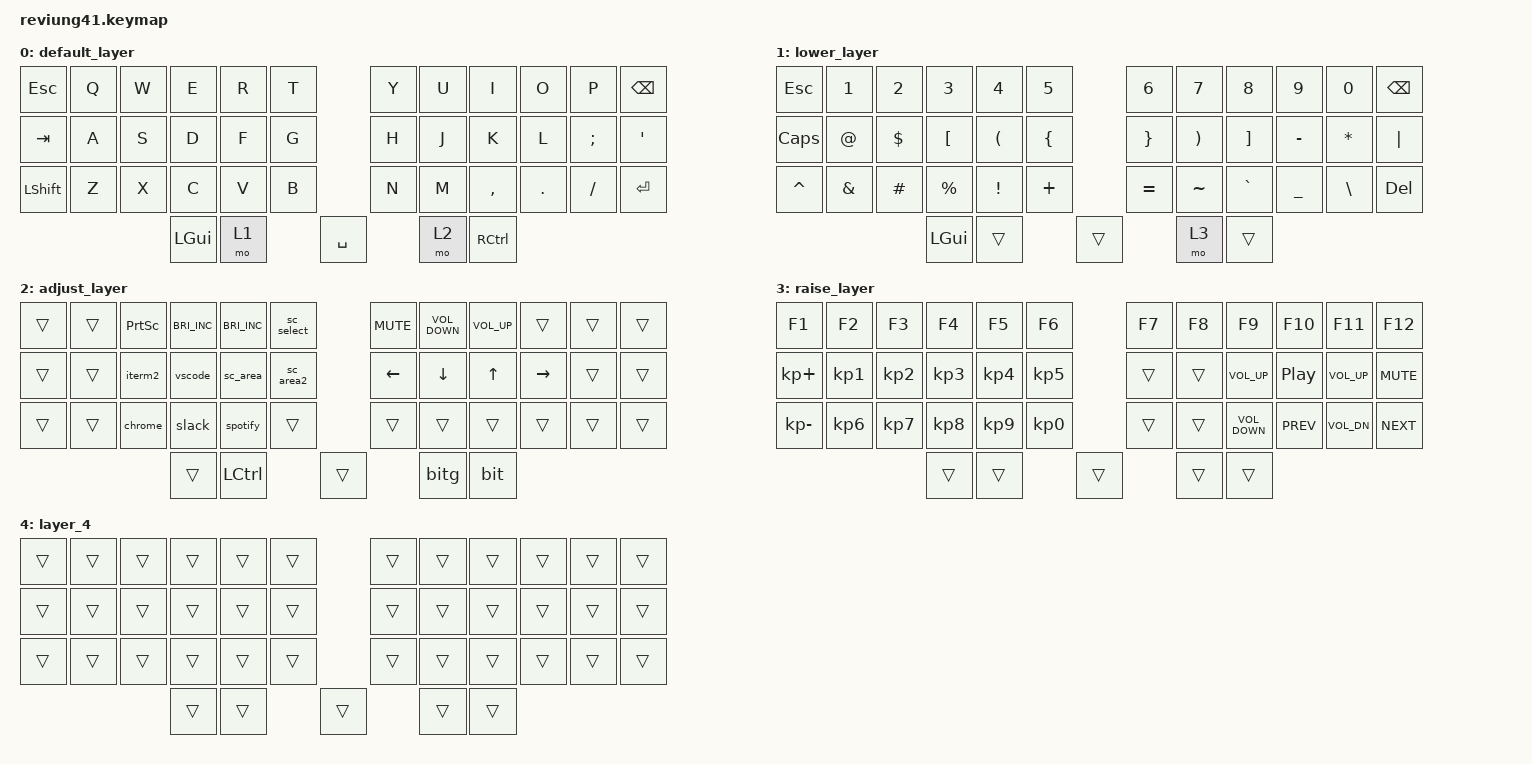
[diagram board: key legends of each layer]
/*
 * Reviung41 ChiefMikey Keymap - ZMK Configuration
 *
 * A comprehensive keymap for the Reviung41 split keyboard featuring:
 * - 4-layer layout (Base, Lower, Raise, Adjust)
 * - App launching shortcuts (iTerm2, VS Code, Chrome, Slack, Spotify)
 * - Screenshot shortcuts (selection and area capture)
 * - Email macro for quick insertion
 * - Bluetooth support for wireless operation
 * - Optimized for macOS productivity workflows
 *
 * Hardware: Reviung41 with nice!nano v2 (nRF52840)
 * Firmware: ZMK
 *
 * Copyright (c) 2020 The ZMK Contributors
 * SPDX-License-Identifier: MIT
 */

#include <behaviors.dtsi>
#include <dt-bindings/zmk/keys.h>

/ {
    macros {
        // Email macro - sends wolfemikl@gmail.com

        email: email {
            label = "email";
            compatible = "zmk,behavior-macro";
            wait-ms = <5>;
            tap-ms = <5>;
            #binding-cells = <0>;
            bindings =
                <&macro_tap>,
                <&kp W &kp O &kp L &kp F &kp E>,
                <&macro_tap>,
                <&kp M &kp I &kp K &kp L>,
                <&macro_tap>,
                <&kp AT>,
                <&macro_tap>,
                <&kp G &kp M &kp A &kp I &kp L>,
                <&macro_tap>,
                <&kp DOT>,
                <&macro_tap>,
                <&kp C &kp O &kp M>;
        };

        // Screenshot selection macro - macOS Cmd+Shift+4

        sc_select: sc_select {
            label = "sc_select";
            compatible = "zmk,behavior-macro";
            wait-ms = <5>;
            tap-ms = <5>;
            #binding-cells = <0>;
            bindings =
                <&macro_press>,
                <&kp LGUI &kp LSHFT>,
                <&macro_tap>,
                <&kp N4>,
                <&macro_release>,
                <&kp LGUI &kp LSHFT>;
        };

        // Screenshot area macro - macOS Cmd+Shift+5

        sc_area: sc_area {
            label = "sc_area";
            compatible = "zmk,behavior-macro";
            wait-ms = <5>;
            tap-ms = <5>;
            #binding-cells = <0>;
            bindings =
                <&macro_press>,
                <&kp LGUI &kp LSHFT>,
                <&macro_tap>,
                <&kp N5>,
                <&macro_release>,
                <&kp LGUI &kp LSHFT>;
        };

        // Screenshot area with enter macro - macOS Cmd+Shift+5+Enter

        sc_area2: sc_area2 {
            label = "sc_area2";
            compatible = "zmk,behavior-macro";
            wait-ms = <5>;
            tap-ms = <5>;
            #binding-cells = <0>;
            bindings =
                <&macro_press>,
                <&kp LGUI &kp LSHFT>,
                <&macro_tap>,
                <&kp N5>,
                <&macro_release>,
                <&kp LGUI &kp LSHFT>,
                <&macro_tap>,
                <&kp RET>;
        };

        // App launching macros - require Cmd+Option+key shortcuts in macOS System Preferences
        // Launch iTerm2 - Cmd+Option+I

        iterm2: iterm2 {
            label = "iterm2";
            compatible = "zmk,behavior-macro";
            wait-ms = <5>;
            tap-ms = <5>;
            #binding-cells = <0>;
            bindings =
                <&macro_press>,
                <&kp LGUI &kp LALT>,
                <&macro_tap>,
                <&kp I>,
                <&macro_release>,
                <&kp LGUI &kp LALT>;
        };

        // Launch VS Code - Cmd+Option+V

        vscode: vscode {
            label = "vscode";
            compatible = "zmk,behavior-macro";
            wait-ms = <5>;
            tap-ms = <5>;
            #binding-cells = <0>;
            bindings =
                <&macro_press>,
                <&kp LGUI &kp LALT>,
                <&macro_tap>,
                <&kp V>,
                <&macro_release>,
                <&kp LGUI &kp LALT>;
        };

        // Launch Chrome - Cmd+Option+C

        chrome: chrome {
            label = "chrome";
            compatible = "zmk,behavior-macro";
            wait-ms = <5>;
            tap-ms = <5>;
            #binding-cells = <0>;
            bindings =
                <&macro_press>,
                <&kp LGUI &kp LALT>,
                <&macro_tap>,
                <&kp C>,
                <&macro_release>,
                <&kp LGUI &kp LALT>;
        };

        // Launch Slack - Cmd+Option+L

        slack: slack {
            label = "slack";
            compatible = "zmk,behavior-macro";
            wait-ms = <5>;
            tap-ms = <5>;
            #binding-cells = <0>;
            bindings =
                <&macro_press>,
                <&kp LGUI &kp LALT>,
                <&macro_tap>,
                <&kp L>,
                <&macro_release>,
                <&kp LGUI &kp LALT>;
        };

        // Launch Spotify - Cmd+Option+S

        spotify: spotify {
            label = "spotify";
            compatible = "zmk,behavior-macro";
            wait-ms = <5>;
            tap-ms = <5>;
            #binding-cells = <0>;
            bindings =
                <&macro_press>,
                <&kp LGUI &kp LALT>,
                <&macro_tap>,
                <&kp S>,
                <&macro_release>,
                <&kp LGUI &kp LALT>;
        };

        // Bit string macro - sends 644215-341561-007271-388454-339020-202070-542564-646173

        bit: bit {
            label = "bit";
            compatible = "zmk,behavior-macro";
            wait-ms = <5>;
            tap-ms = <5>;
            #binding-cells = <0>;
            bindings =
                <&macro_tap>,
                <&kp N6 &kp N4 &kp N4 &kp N2 &kp N1 &kp N5>,
                <&macro_tap>,
                <&kp MINUS>,
                <&macro_tap>,
                <&kp N3 &kp N4 &kp N1 &kp N5 &kp N6 &kp N1>,
                <&macro_tap>,
                <&kp MINUS>,
                <&macro_tap>,
                <&kp N0 &kp N0 &kp N7 &kp N2 &kp N7 &kp N1>,
                <&macro_tap>,
                <&kp MINUS>,
                <&macro_tap>,
                <&kp N3 &kp N8 &kp N8 &kp N4 &kp N5 &kp N4>,
                <&macro_tap>,
                <&kp MINUS>,
                <&macro_tap>,
                <&kp N3 &kp N3 &kp N9 &kp N0 &kp N2 &kp N0>,
                <&macro_tap>,
                <&kp MINUS>,
                <&macro_tap>,
                <&kp N2 &kp N0 &kp N2 &kp N0 &kp N7 &kp N0>,
                <&macro_tap>,
                <&kp MINUS>,
                <&macro_tap>,
                <&kp N5 &kp N4 &kp N2 &kp N5 &kp N6 &kp N4>,
                <&macro_tap>,
                <&kp MINUS>,
                <&macro_tap>,
                <&kp N6 &kp N4 &kp N6 &kp N1 &kp N7 &kp N3>;
        };

        // BitG string macro - sends 579359-282722-097900-233354-372933-318197-148071-714978

        bitg: bitg {
            label = "bitg";
            compatible = "zmk,behavior-macro";
            wait-ms = <5>;
            tap-ms = <5>;
            #binding-cells = <0>;
            bindings =
                <&macro_tap>,
                <&kp N5 &kp N7 &kp N9 &kp N3 &kp N5 &kp N9>,
                <&macro_tap>,
                <&kp MINUS>,
                <&macro_tap>,
                <&kp N2 &kp N8 &kp N2 &kp N7 &kp N2 &kp N2>,
                <&macro_tap>,
                <&kp MINUS>,
                <&macro_tap>,
                <&kp N0 &kp N9 &kp N7 &kp N9 &kp N0 &kp N0>,
                <&macro_tap>,
                <&kp MINUS>,
                <&macro_tap>,
                <&kp N2 &kp N3 &kp N3 &kp N3 &kp N5 &kp N4>,
                <&macro_tap>,
                <&kp MINUS>,
                <&macro_tap>,
                <&kp N3 &kp N7 &kp N2 &kp N9 &kp N3 &kp N3>,
                <&macro_tap>,
                <&kp MINUS>,
                <&macro_tap>,
                <&kp N3 &kp N1 &kp N8 &kp N1 &kp N9 &kp N7>,
                <&macro_tap>,
                <&kp MINUS>,
                <&macro_tap>,
                <&kp N1 &kp N4 &kp N8 &kp N0 &kp N7 &kp N1>,
                <&macro_tap>,
                <&kp MINUS>,
                <&macro_tap>,
                <&kp N7 &kp N1 &kp N4 &kp N9 &kp N7 &kp N8>;
        };
    };
};

/ {
    keymap {
        compatible = "zmk,keymap";

        default_layer {
            bindings = <
&kp ESC    &kp Q  &kp W  &kp E     &kp R  &kp T             &kp Y  &kp U  &kp I              &kp O    &kp P     &kp BSPC
&kp TAB    &kp A  &kp S  &kp D     &kp F  &kp G             &kp H  &kp J  &kp K              &kp L    &kp SEMI  &kp SQT
&kp LSHFT  &kp Z  &kp X  &kp C     &kp V  &kp B             &kp N  &kp M  &kp COMMA          &kp DOT  &kp FSLH  &kp ENTER
                         &kp LGUI  &mo 1         &kp SPACE         &mo 2  &kp RIGHT_CONTROL
            >;
        };

        lower_layer {
            bindings = <
&kp ESC       &kp NUMBER_1  &kp NUMBER_2  &kp NUMBER_3  &kp NUMBER_4  &kp NUMBER_5          &kp NUMBER_6  &kp N7     &kp N8     &kp N9          &kp N0    &kp BSPC
&kp CAPSLOCK  &kp AT        &kp DLLR      &kp LBKT      &kp LPAR      &kp LBRC              &kp RBRC      &kp RPAR   &kp RBKT   &kp MINUS       &kp STAR  &kp PIPE
&kp CARET     &kp AMPS      &kp HASH      &kp PRCNT     &kp EXCL      &kp PLUS              &kp EQUAL     &kp TILDE  &kp GRAVE  &kp UNDERSCORE  &kp BSLH  &kp DEL
                                          &kp LGUI      &trans                      &trans                &mo 3      &trans
            >;
        };

        adjust_layer {
            bindings = <
&trans  &trans  &kp PRINTSCREEN  &kp C_BRIGHTNESS_INC  &kp C_BRIGHTNESS_INC  &sc_select          &kp K_MUTE      &kp C_VOLUME_DOWN  &kp C_VOLUME_UP  &trans     &trans  &trans
&trans  &trans  &iterm2          &vscode               &sc_area              &sc_area2           &kp LEFT_ARROW  &kp DOWN_ARROW     &kp UP_ARROW     &kp RIGHT  &trans  &trans
&trans  &trans  &chrome          &slack                &spotify              &trans              &trans          &trans             &trans           &trans     &trans  &trans
                                 &trans                &kp LEFT_CONTROL                  &trans                  &bitg              &bit
            >;
        };

        raise_layer {
            bindings = <
&kp F1        &kp F2     &kp F3     &kp F4     &kp F5     &kp F6             &kp F7  &kp F8  &kp F9             &kp F10           &kp F11       &kp F12
&kp KP_PLUS   &kp KP_N1  &kp KP_N2  &kp KP_N3  &kp KP_N4  &kp KP_N5          &trans  &trans  &kp C_VOLUME_UP    &kp C_PLAY_PAUSE  &kp C_VOL_UP  &kp C_MUTE
&kp KP_MINUS  &kp KP_N6  &kp KP_N7  &kp KP_N8  &kp KP_N9  &kp KP_N0          &trans  &trans  &kp C_VOLUME_DOWN  &kp C_PREV        &kp C_VOL_DN  &kp C_NEXT
                                    &trans     &trans                &trans          &trans  &trans
            >;
        };

        layer_4 {
            bindings = <
&trans  &trans  &trans  &trans  &trans  &trans          &trans  &trans  &trans  &trans  &trans  &trans
&trans  &trans  &trans  &trans  &trans  &trans          &trans  &trans  &trans  &trans  &trans  &trans
&trans  &trans  &trans  &trans  &trans  &trans          &trans  &trans  &trans  &trans  &trans  &trans
                        &trans  &trans          &trans          &trans  &trans
            >;
        };
    };
};
